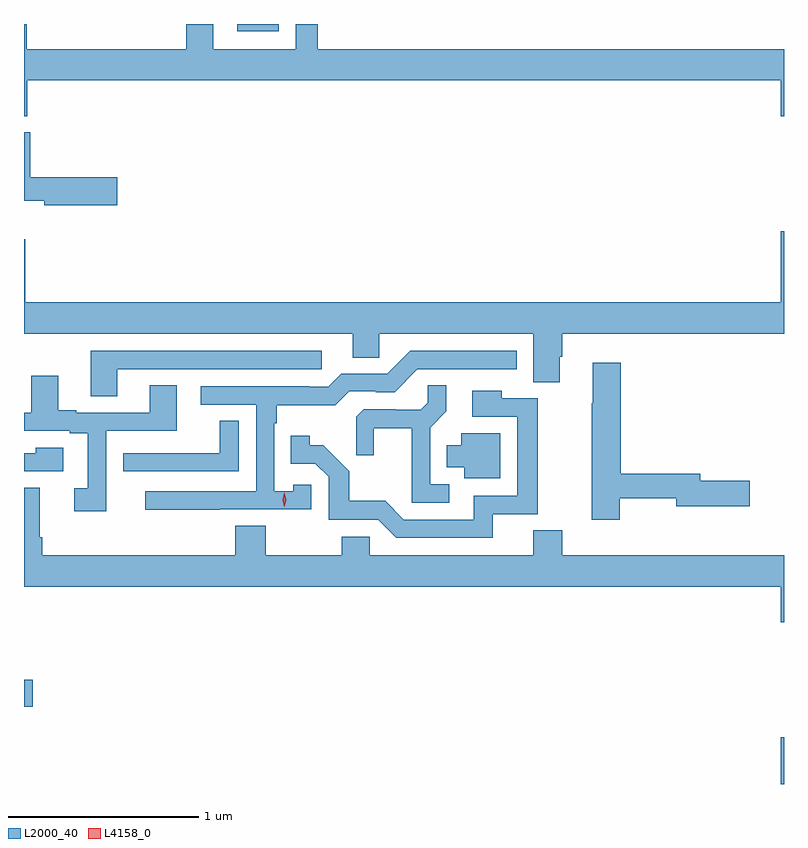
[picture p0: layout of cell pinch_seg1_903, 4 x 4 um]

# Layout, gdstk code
import gdstk
lib = gdstk.Library(unit=1e-6, precision=1e-09)
def R(c, l, rs):  # rectangles x0, y0, x1, y1
    for r in rs: c.add(gdstk.rectangle(r[:2], r[2:], *l))
def P(c, l, *ps):  # polygons
    for p in ps: c.add(gdstk.Polygon(p, *l))
L2000_40 = (2000, 40)
L4158_0 = (4158, 0)

pinch_seg1_903 = lib.new_cell('pinch_seg1_903')
R(pinch_seg1_903, L2000_40, [(236.936,517.393,236.952,517.639), (232.952,517.799,232.999,517.941), (234.075,521.354,234.292,521.393)])
P(pinch_seg1_903, L2000_40, [(232.97,521.096),(236.936,521.096),(236.936,520.908),(236.952,520.908),(236.952,521.26),(234.497,521.26),(234.497,521.393),(234.381,521.393),(234.381,521.26),(233.947,521.26),(233.947,521.393),(233.807,521.393),(233.807,521.26),(232.966,521.26),(232.966,521.393),(232.952,521.393),(232.952,520.907),(232.97,520.907)],
  [(233.443,520.586),(232.985,520.586),(232.985,520.822),(232.952,520.822),(232.952,520.463),(233.058,520.463),(233.058,520.439),(233.443,520.439)],
  [(235.771,519.642),(235.784,519.642),(235.784,519.764),(236.952,519.764),(236.952,520.303),(236.936,520.303),(236.936,519.928),(232.958,519.928),(232.958,520.261),(232.952,520.261),(232.952,519.764),(234.683,519.764),(234.683,519.637),(234.822,519.637),(234.822,519.764),(235.631,519.764),(235.631,519.508),(235.771,519.508)],
  [(233.981,518.838),(234.465,518.838),(234.465,518.967),(234.369,518.967),(234.369,518.935),(234.27,518.935),(234.27,519.293),(234.283,519.293),(234.283,519.386),(234.59,519.386),(234.663,519.459),(234.802,519.459),(234.802,519.456),(234.903,519.456),(235.023,519.576),(235.546,519.576),(235.546,519.672),(234.984,519.672),(234.864,519.552),(234.621,519.552),(234.552,519.483),(234.452,519.483),(234.452,519.486),(233.883,519.486),(233.883,519.39),(234.174,519.39),(234.174,518.934),(233.589,518.934),(233.589,518.836),(233.981,518.836)],
  [(233.443,519.576),(234.52,519.576),(234.52,519.672),(233.303,519.672),(233.303,519.433),(233.443,519.433)],
  [(236.088,518.898),(236.384,518.898),(236.384,518.855),(236.773,518.855),(236.773,518.99),(236.512,518.99),(236.512,519.026),(236.093,519.026),(236.093,519.61),(235.946,519.61),(235.946,519.397),(235.939,519.397),(235.939,518.784),(236.088,518.784)],
  [(233.385,519.252),(233.755,519.252),(233.755,519.491),(233.615,519.491),(233.615,519.348),(233.227,519.348),(233.227,519.361),(233.131,519.361),(233.131,519.541),(232.991,519.541),(232.991,519.348),(232.952,519.348),(232.952,519.252),(233.192,519.252),(233.192,519.24),(233.288,519.24),(233.288,518.949),(233.217,518.949),(233.217,518.829),(233.385,518.829)],
  [(235.189,518.97),(235.089,518.97),(235.089,519.269),(235.175,519.355),(235.175,519.491),(235.077,519.491),(235.077,519.4),(235.04,519.363),(234.906,519.363),(234.906,519.366),(234.741,519.366),(234.7,519.325),(234.7,519.123),(234.794,519.123),(234.794,519.266),(234.992,519.266),(234.992,518.874),(235.189,518.874)],
  [(235.418,518.814),(235.657,518.814),(235.657,519.423),(235.467,519.423),(235.467,519.463),(235.311,519.463),(235.311,519.327),(235.548,519.327),(235.548,518.91),(235.319,518.91),(235.319,518.784),(234.951,518.784),(234.853,518.883),(234.664,518.883),(234.664,519.038),(234.526,519.176),(234.456,519.176),(234.456,519.226),(234.355,519.226),(234.355,519.078),(234.486,519.078),(234.555,519.009),(234.555,518.784),(234.816,518.784),(234.912,518.688),(235.418,518.688)],
  [(234.081,519.305),(233.983,519.305),(233.983,519.135),(233.587,519.135),(233.587,519.134),(233.475,519.134),(233.475,519.039),(234.081,519.039)],
  [(235.459,519.238),(235.253,519.238),(235.253,519.175),(235.178,519.175),(235.178,519.059),(235.268,519.059),(235.268,519.002),(235.459,519.002)],
  [(233.158,519.163),(233.013,519.163),(233.013,519.135),(232.952,519.135),(232.952,519.039),(233.158,519.039)],
  [(236.952,518.596),(235.784,518.596),(235.784,518.729),(235.631,518.729),(235.631,518.596),(234.771,518.596),(234.771,518.694),(234.625,518.694),(234.625,518.596),(234.225,518.596),(234.225,518.753),(234.065,518.753),(234.065,518.596),(233.048,518.596),(233.048,518.692),(233.035,518.692),(233.035,518.953),(232.952,518.953),(232.952,518.432),(236.936,518.432),(236.936,518.244),(236.952,518.244)])
P(pinch_seg1_903, L4158_0, [(234.322,518.853),(234.313,518.889),(234.322,518.925),(234.323,518.925),(234.323,518.925),(234.333,518.889),(234.323,518.853),(234.323,518.853)])

lib.write_gds('pinch_seg1_903.gds')
